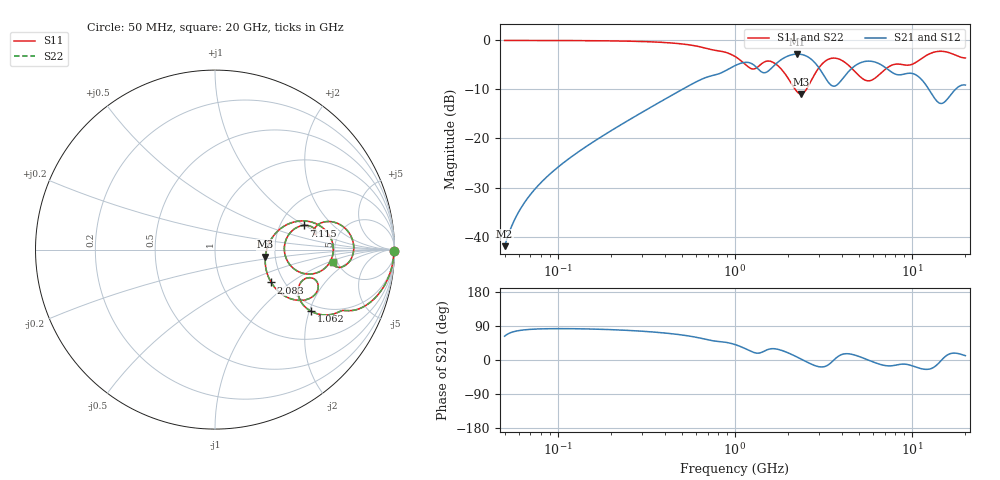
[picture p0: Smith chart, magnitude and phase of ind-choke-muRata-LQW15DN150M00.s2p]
!Murata Part Number: LQW15DN150M00
!These Parameters are Measured in Series Mode Connection
!  o--[Z]--o
!Port1  Port2
!  o-------o
!Freq. Start=50[MHz] Stop=20[GHz], 401[Steps]
# Hz S RI R 50
!Freq.(Hz) S11(Real) S11(Imag) S21(Real) S21(Imag) S12(Real) S12(Imag) S22(Real) S22(Imag)
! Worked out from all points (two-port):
!   401 points, 50 MHz to 20 GHz, reference 50 ohm
!   highest |S21| = -2.80 dB at 2.245 GHz (marker M1); lowest = -42.0 dB at 50 MHz (marker M2)
!   |S21| within 3 dB of the highest: 1.594 GHz to 3.004 GHz (1.41 GHz wide, 61.4 % of centre); 4.538 GHz to 7.219 GHz (2.681 GHz wide, 45.6 % of centre)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
!   lowest |S11| = -11.0 dB at 2.349 GHz (marker M3), VSWR 1.79, Z = 88.6 - j7.45 ohm
!   |S11| at or under -10 dB: 2.189 GHz to 2.529 GHz (340 MHz wide, 14.4 % of centre)
!   |S22| runs from -11.0 to 0.0 dB; largest |S21 - S12| = 0
!   S11 on the Smith chart (normalised r, x): 50 MHz: open; 1.062 GHz: 1.78, -2.06; 2.083 GHz: 1.72, -0.73; 7.115 GHz: 2.70, +0.99; 20 GHz: 4.60, -1.13
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5e7  0.9963 -0.0071  0.00365 0.0071  0.00365 0.0071  0.9963 -0.0071
7.162978e7  0.9957 -0.028  0.00434 0.028  0.00434 0.028  0.9957 -0.028
1.364002e8  0.9896 -0.0764  0.0104 0.0764  0.0104 0.0764  0.9896 -0.0764
3.721004e8  0.9306 -0.2215  0.0694 0.2215  0.0694 0.2215  0.9306 -0.2215
1e9  0.5818 -0.3606  0.4182 0.3606  0.4182 0.3606  0.5818 -0.3606
1.061746e9  0.535 -0.3435  0.465 0.3435  0.465 0.3435  0.535 -0.3435
1.349283e9  0.5136 -0.1579  0.4864 0.1579  0.4864 0.1579  0.5136 -0.1579
1.544007e9  0.5703 -0.2302  0.4297 0.2302  0.4297 0.2302  0.5703 -0.2302
1.793498e9  0.4452 -0.2802  0.5548 0.2802  0.5548 0.2802  0.4452 -0.2802
2.083303e9  0.3132 -0.1832  0.6868 0.1832  0.6868 0.1832  0.3132 -0.1832
2.245319e9  0.2822 -0.0966  0.7178 0.0966  0.7178 0.0966  0.2822 -0.0966
2.348516e9  0.2808 -0.0386  0.7192 0.0386  0.7192 0.0386  0.2808 -0.0386
2.728004e9  0.3839 0.1299  0.6161 -0.1299  0.6161 -0.1299  0.3839 0.1299
3.075291e9  0.5435 0.1517  0.4565 -0.1517  0.4565 -0.1517  0.5435 0.1517
3.572216e9  0.6587 0.0146  0.3413 -0.0146  0.3413 -0.0146  0.6587 0.0146
4.472136e9  0.5191 -0.1365  0.4809 0.1365  0.4809 0.1365  0.5191 -0.1365
5.598765e9  0.3868 -0.00763  0.6132 0.00763  0.6132 0.00763  0.3868 -0.00763
7.114996e9  0.4949 0.1347  0.5051 -0.1347  0.5051 -0.1347  0.4949 0.1347
7.442007e9  0.5258 0.1321  0.4742 -0.1321  0.4742 -0.1321  0.5258 0.1321
1.066139e10  0.5881 0.1472  0.4119 -0.1472  0.4119 -0.1472  0.5881 0.1472
1.438523e10  0.7729 0.0179  0.2271 -0.0179  0.2271 -0.0179  0.7729 0.0179
2e10  0.6567 -0.0694  0.3433 0.0694  0.3433 0.0694  0.6567 -0.0694
